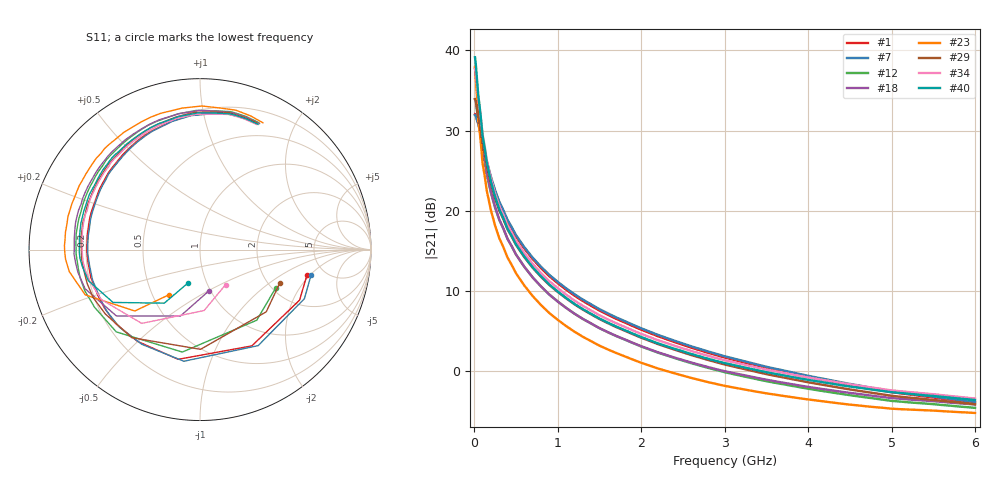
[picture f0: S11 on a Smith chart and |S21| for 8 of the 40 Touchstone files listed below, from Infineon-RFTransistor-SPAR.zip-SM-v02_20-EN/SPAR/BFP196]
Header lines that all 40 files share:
! Infineon Technologies  Discrete & RF Semiconductors
! BFP196
! Common Emitter S-Parameters:  Jan 2017
# GHz  S  MA  R  50
!  f  S11  S21  S12  S22
! GHz  MAG  ANG  MAG  ANG  MAG  ANG  MAG  ANG
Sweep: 10 MHz to 6 GHz
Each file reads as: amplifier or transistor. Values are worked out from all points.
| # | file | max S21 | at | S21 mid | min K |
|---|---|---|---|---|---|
| 1 | BFP196_VCE_8.0V_IC_15mA.s2p | 32.1 dB | 10 MHz | 4.4 dB at 2.2 GHz | 0.05 |
| 2 | BFP196_VCE_8.0V_IC_55mA.s2p | 38.2 dB | 10 MHz | 5.5 dB at 2.2 GHz | 0.17 |
| 3 | BFP196_VCE_9.0V_IC_15mA.s2p | 32.0 dB | 10 MHz | 4.5 dB at 2.2 GHz | 0.06 |
| 4 | BFP196_VCE_9.0V_IC_55mA.s2p | 38.1 dB | 10 MHz | 5.5 dB at 2.2 GHz | 0.15 |
| 5 | BFP196_VCE_10.V_IC_15mA.s2p | 32.0 dB | 10 MHz | 4.5 dB at 2.2 GHz | 0.06 |
| 6 | BFP196_VCE_10.V_IC_55mA.s2p | 38.0 dB | 10 MHz | 5.6 dB at 2.2 GHz | 0.19 |
| 7 | BFP196_VCE_11.V_IC_15mA.s2p | 31.9 dB | 10 MHz | 4.6 dB at 2.2 GHz | 0.08 |
| 8 | BFP196_VCE_12.V_IC_15mA.s2p | 31.9 dB | 10 MHz | 4.6 dB at 2.2 GHz | 0.16 |
| 9 | BFP196_w_noise_VCE_1.0V_IC_0.10A.s2p | 36.9 dB | 10 MHz | -1.8 dB at 2.2 GHz | 0.50 |
| 10 | BFP196_w_noise_VCE_1.0V_IC_5.0mA.s2p | 24.6 dB | 20 MHz | -0.2 dB at 2.2 GHz | -0.02 |
| 11 | BFP196_w_noise_VCE_1.0V_IC_10mA.s2p | 29.6 dB | 10 MHz | 1.4 dB at 2.2 GHz | 0.00 |
| 12 | BFP196_w_noise_VCE_1.0V_IC_20mA.s2p | 33.9 dB | 10 MHz | 2.3 dB at 2.2 GHz | 0.06 |
| 13 | BFP196_w_noise_VCE_1.0V_IC_25mA.s2p | 35.1 dB | 10 MHz | 2.5 dB at 2.2 GHz | 0.08 |
| 14 | BFP196_w_noise_VCE_1.0V_IC_30mA.s2p | 35.9 dB | 10 MHz | 2.6 dB at 2.2 GHz | 0.11 |
| 15 | BFP196_w_noise_VCE_1.0V_IC_35mA.s2p | 36.6 dB | 10 MHz | 2.6 dB at 2.2 GHz | 0.13 |
| 16 | BFP196_w_noise_VCE_1.0V_IC_40mA.s2p | 37.1 dB | 10 MHz | 2.6 dB at 2.2 GHz | 0.15 |
| 17 | BFP196_w_noise_VCE_1.0V_IC_45mA.s2p | 37.5 dB | 10 MHz | 2.5 dB at 2.2 GHz | 0.17 |
| 18 | BFP196_w_noise_VCE_1.0V_IC_50mA.s2p | 37.8 dB | 10 MHz | 2.4 dB at 2.2 GHz | 0.21 |
| 19 | BFP196_w_noise_VCE_1.0V_IC_60mA.s2p | 38.1 dB | 10 MHz | 2.0 dB at 2.2 GHz | 0.24 |
| 20 | BFP196_w_noise_VCE_1.0V_IC_65mA.s2p | 38.2 dB | 10 MHz | 1.7 dB at 2.2 GHz | 0.27 |
| 21 | BFP196_w_noise_VCE_1.0V_IC_70mA.s2p | 38.2 dB | 10 MHz | 1.3 dB at 2.2 GHz | 0.31 |
| 22 | BFP196_w_noise_VCE_1.0V_IC_75mA.s2p | 38.1 dB | 10 MHz | 0.9 dB at 2.2 GHz | 0.34 |
| 23 | BFP196_w_noise_VCE_1.0V_IC_80mA.s2p | 37.9 dB | 10 MHz | 0.4 dB at 2.2 GHz | 0.37 |
| 24 | BFP196_w_noise_VCE_1.0V_IC_85mA.s2p | 37.7 dB | 10 MHz | -0.2 dB at 2.2 GHz | 0.43 |
| 25 | BFP196_w_noise_VCE_1.0V_IC_90mA.s2p | 37.5 dB | 10 MHz | -0.8 dB at 2.2 GHz | 0.46 |
| 26 | BFP196_w_noise_VCE_2.0V_IC_0.10A.s2p | 39.2 dB | 10 MHz | 2.7 dB at 2.2 GHz | 0.37 |
| 27 | BFP196_w_noise_VCE_2.0V_IC_5.0mA.s2p | 24.5 dB | 20 MHz | 0.6 dB at 2.2 GHz | -0.06 |
| 28 | BFP196_w_noise_VCE_2.0V_IC_10mA.s2p | 29.6 dB | 10 MHz | 2.4 dB at 2.2 GHz | 0.01 |
| 29 | BFP196_w_noise_VCE_2.0V_IC_20mA.s2p | 33.9 dB | 10 MHz | 3.4 dB at 2.2 GHz | 0.04 |
| 30 | BFP196_w_noise_VCE_2.0V_IC_25mA.s2p | 35.1 dB | 10 MHz | 3.6 dB at 2.2 GHz | 0.10 |
| 31 | BFP196_w_noise_VCE_2.0V_IC_30mA.s2p | 36.0 dB | 10 MHz | 3.7 dB at 2.2 GHz | 0.08 |
| 32 | BFP196_w_noise_VCE_2.0V_IC_35mA.s2p | 36.7 dB | 10 MHz | 3.8 dB at 2.2 GHz | 0.12 |
| 33 | BFP196_w_noise_VCE_2.0V_IC_40mA.s2p | 37.2 dB | 10 MHz | 3.9 dB at 2.2 GHz | 0.14 |
| 34 | BFP196_w_noise_VCE_2.0V_IC_45mA.s2p | 37.7 dB | 10 MHz | 3.9 dB at 2.2 GHz | 0.16 |
| 35 | BFP196_w_noise_VCE_2.0V_IC_50mA.s2p | 38.0 dB | 10 MHz | 3.9 dB at 2.2 GHz | 0.17 |
| 36 | BFP196_w_noise_VCE_2.0V_IC_60mA.s2p | 38.6 dB | 10 MHz | 3.8 dB at 2.2 GHz | 0.21 |
| 37 | BFP196_w_noise_VCE_2.0V_IC_65mA.s2p | 38.8 dB | 10 MHz | 3.8 dB at 2.2 GHz | 0.23 |
| 38 | BFP196_w_noise_VCE_2.0V_IC_70mA.s2p | 38.9 dB | 10 MHz | 3.7 dB at 2.2 GHz | 0.24 |
| 39 | BFP196_w_noise_VCE_2.0V_IC_75mA.s2p | 39.1 dB | 10 MHz | 3.6 dB at 2.2 GHz | 0.27 |
| 40 | BFP196_w_noise_VCE_2.0V_IC_80mA.s2p | 39.2 dB | 10 MHz | 3.5 dB at 2.2 GHz | 0.29 |

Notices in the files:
Hoja de datos/BFP 450/Infineon-RFTransistor-SPAR.zip-SM-v02_20-EN/SPAR/BFP196/BFP196_VCE_10.V_IC_15mA.s2p:
(c) 2017  Infineon Technologies AG, Munich
